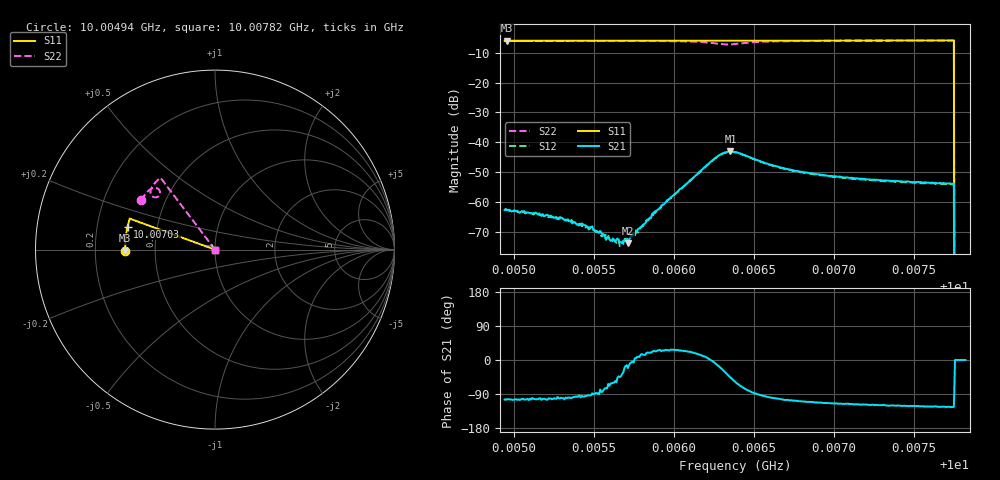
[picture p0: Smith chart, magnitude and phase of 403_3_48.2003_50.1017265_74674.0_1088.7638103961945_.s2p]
#  HZ  S  RI  R  50.00
! Rohde & Schwarz Vector Network Analyzer
! Rohde-Schwarz,ZNB20-2Port,1311601062101988,3.16
! Created: UTC 3/20/2024, 11:54:07 AM
! freq[Hz]  re:S11  im:S11  re:S21  im:S21  re:S12  im:S12  re:S22  im:S22
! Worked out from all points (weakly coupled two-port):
!   401 points, 10.00494 GHz to 10.00782 GHz, reference 50 ohm
!   highest |S21| = -43.03 dB at 10.00635 GHz (marker M1); lowest = -73.7 dB at 10.00571 GHz (marker M2)
!   lowest |S11| = -6.0 dB at 10.00496 GHz (marker M3), VSWR 3.00, Z = 16.7 - j0.231 ohm
!   |S11| at or under -10 dB: 10.00775 GHz to end of sweep
!   |S22| runs from - to -6.0 dB; largest |S21 - S12| = 0.0004
!   S11 on the Smith chart (normalised r, x): 10.00494 GHz: 0.33, -0.01; 10.00703 GHz: 0.33, +0.11; 10.00782 GHz: 1.00, +0.00
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1.0004941e10  -0.4995 -0.00627  -0.000184 -0.00072  -0.000124 -0.000728  -0.4115 0.274
1.0004955e10  -0.4993 -0.0052  -0.000174 -0.000723  -0.000178 -0.00072  -0.411 0.2749
1.0005142e10  -0.4998 0.00704  -0.000149 -0.000632  -0.000138 -0.000634  -0.4042 0.2859
1.0005279e10  -0.4999 0.0158  -9.65e-05 -0.000512  -9.23e-05 -0.000547  -0.3986 0.2942
1.0005423e10  -0.4998 0.0252  -3.53e-05 -0.000442  -4.29e-07 -0.000398  -0.3926 0.3026
1.0005546e10  -0.4995 0.0332  3.03e-05 -0.000304  3.64e-05 -0.000265  -0.3869 0.31
1.0005589e10  -0.4994 0.036  0.000116 -0.000227  7.86e-05 -0.000261  -0.3849 0.3128
1.0005668e10  -0.4992 0.0411  0.000157 -0.000146  0.000133 -0.000138  -0.3807 0.3176
1.0005711e10  -0.4991 0.0439  0.000193 -7.57e-05  0.000202 -7.14e-05  -0.3783 0.3203
1.0005762e10  -0.499 0.0472  0.000338 2.76e-05  0.000314 4.59e-05  -0.3753 0.3235
1.0005906e10  -0.4982 0.0565  0.00069 0.000338  0.000694 0.000361  -0.3651 0.3328
1.0006252e10  -0.4954 0.0788  0.00532 -0.000606  0.00523 -0.00033  -0.3099 0.3305
1.0006302e10  -0.4948 0.0817  0.00594 -0.00276  0.00593 -0.00241  -0.3067 0.3114
1.0006352e10  -0.4944 0.0846  0.00489 -0.00508  0.00506 -0.00472  -0.3196 0.2942
1.0006381e10  -0.4944 0.0864  0.00374 -0.0058  0.00397 -0.00549  -0.3307 0.2909
1.0006619e10  -0.4924 0.1015  -0.00072 -0.00407  -0.000548 -0.00404  -0.359 0.3289
1.0006864e10  -0.4897 0.1173  -0.00107 -0.00284  -0.000976 -0.00281  -0.3486 0.3527
1.0007029e10  -0.4873 0.1279  -0.00115 -0.0024  -0.00102 -0.00241  -0.3402 0.3641
1.0007346e10  -0.4823 0.1475  -0.00116 -0.00197  -0.00101 -0.00197  -0.3244 0.3815
1.0007735e10  -0.4751 0.1715  -0.00114 -0.00166  -0.00106 -0.00171  -0.3046 0.4003
1.0007771e10  0 0  0 0  0 0  0 0
1.0007822e10  0 0  0 0  0 0  0 0
